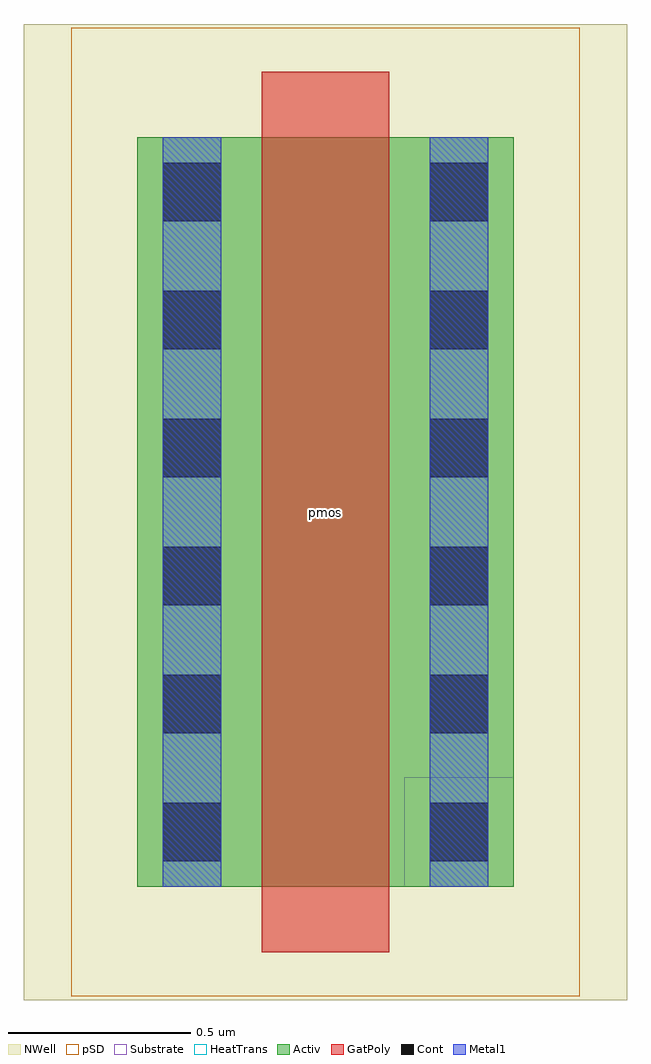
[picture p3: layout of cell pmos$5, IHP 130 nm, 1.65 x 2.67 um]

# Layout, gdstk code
import gdstk
lib = gdstk.Library(unit=1e-6, precision=1e-09)
def R(c, l, rs):  # rectangles x0, y0, x1, y1
    for r in rs: c.add(gdstk.rectangle(r[:2], r[2:], *l))
def A(c, l, x, y, w, h, nx, ny, dx, dy):  # array of equal rectangles
    R(c, l, [(x+i*dx, y+j*dy, x+i*dx+w, y+j*dy+h) for i in range(nx) for j in range(ny)])
Activ = (1, 0)
GatPoly = (5, 0)
Cont = (6, 0)
Metal1 = (8, 0)
pSD = (14, 0)
NWell = (31, 0)
Substrate = (40, 0)
HeatTrans = (51, 0)

pmos_5 = lib.new_cell('pmos$5')
R(pmos_5, Activ, [(0,0,0.3,0.3), (0,0,1.03,2.05), (0.73,0,1.03,0.3)])
R(pmos_5, GatPoly, [(0.34,-0.18,0.69,2.23), (0.34,-0.18,0.69,2.23)])
A(pmos_5, Cont, 0.07, 0.07, 0.16, 0.16, 1, 6, 0, 0.35)
A(pmos_5, Cont, 0.8, 0.07, 0.16, 0.16, 1, 6, 0, 0.35)
R(pmos_5, Metal1, [(0.07,0,0.23,2.05), (0.07,0,0.23,2.05), (0.8,0,0.96,2.05), (0.8,0,0.96,2.05)])
R(pmos_5, pSD, [(-0.18,-0.3,1.21,2.35)])
R(pmos_5, NWell, [(-0.31,-0.31,1.34,2.36)])
R(pmos_5, Substrate, [(0.73,0,1.03,0.3)])
R(pmos_5, HeatTrans, [(0.34,-0.18,0.69,2.23)])
pmos_5.add(gdstk.Label('pmos', (0.515,1.025), layer=63, texttype=0))
pmos_5.add(gdstk.Label('pmos', (0.515,1.025), layer=51, texttype=0))

lib.write_gds('pmos_5.gds')
